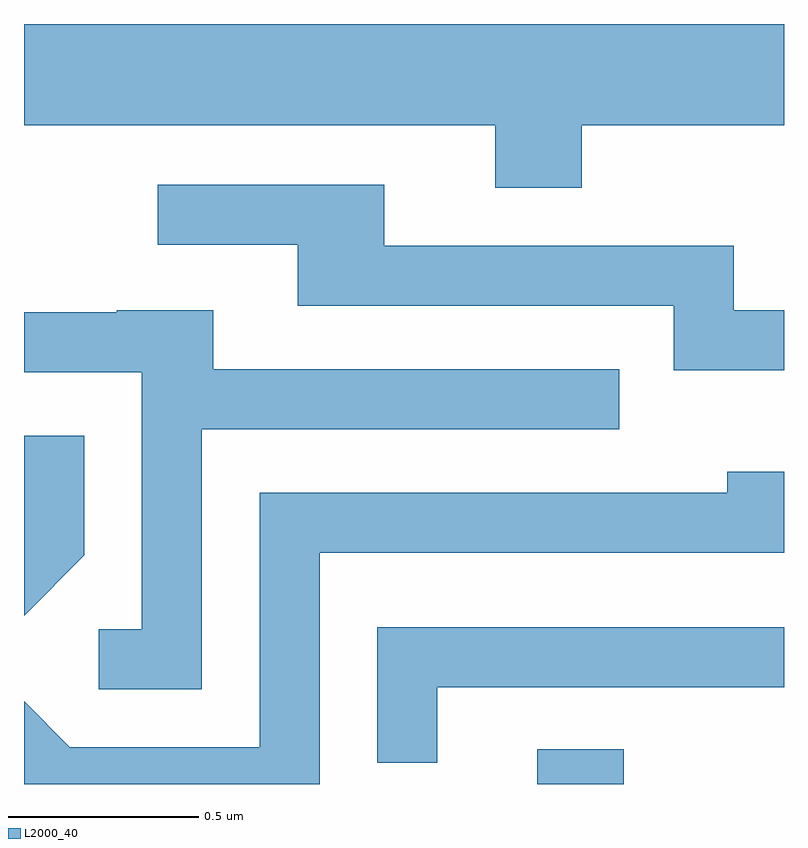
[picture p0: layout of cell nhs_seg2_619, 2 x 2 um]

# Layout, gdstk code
import gdstk
lib = gdstk.Library(unit=1e-6, precision=1e-09)
def R(c, l, rs):  # rectangles x0, y0, x1, y1
    for r in rs: c.add(gdstk.rectangle(r[:2], r[2:], *l))
def P(c, l, *ps):  # polygons
    for p in ps: c.add(gdstk.Polygon(p, *l))
L2000_40 = (2000, 40)

nhs_seg2_619 = lib.new_cell('nhs_seg2_619')
R(nhs_seg2_619, L2000_40, [(190.961,1048.802,191.189,1048.894)])
P(nhs_seg2_619, L2000_40, [(191.079,1050.536),(191.611,1050.536),(191.611,1050.802),(189.611,1050.802),(189.611,1050.536),(190.851,1050.536),(190.851,1050.371),(191.079,1050.371)],
  [(191.611,1050.049),(191.479,1050.049),(191.479,1050.219),(190.559,1050.219),(190.559,1050.379),(189.963,1050.379),(189.963,1050.221),(190.331,1050.221),(190.331,1050.061),(191.321,1050.061),(191.321,1049.891),(191.611,1049.891)],
  [(190.079,1049.736),(191.178,1049.736),(191.178,1049.894),(190.109,1049.894),(190.109,1050.049),(189.855,1050.049),(189.855,1050.044),(189.611,1050.044),(189.611,1049.886),(189.921,1049.886),(189.921,1049.209),(189.808,1049.209),(189.808,1049.051),(190.079,1049.051)],
  [(189.769,1049.404),(189.769,1049.718),(189.611,1049.718),(189.611,1049.245)],
  [(190.389,1049.411),(191.611,1049.411),(191.611,1049.624),(191.461,1049.624),(191.461,1049.569),(190.231,1049.569),(190.231,1048.899),(189.732,1048.899),(189.611,1049.02),(189.611,1048.802),(190.389,1048.802)],
  [(190.699,1049.056),(191.611,1049.056),(191.611,1049.214),(190.541,1049.214),(190.541,1048.858),(190.699,1048.858)])

lib.write_gds('nhs_seg2_619.gds')
